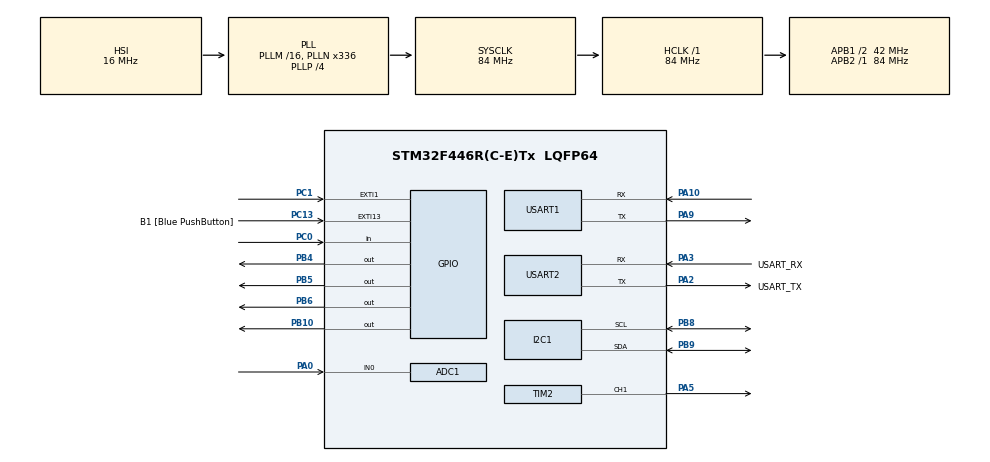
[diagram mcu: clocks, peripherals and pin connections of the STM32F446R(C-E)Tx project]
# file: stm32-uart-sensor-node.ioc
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ADC1.Channel-0\#ChannelRegularConversion=ADC_CHANNEL_0
ADC1.NbrOfConversionFlag=1
ADC1.Rank-0\#ChannelRegularConversion=1
ADC1.SamplingTime-0\#ChannelRegularConversion=ADC_SAMPLETIME_3CYCLES
ADC1.master=1
FREERTOS.Tasks01=defaultTask,24,128,StartDefaultTask,Default,NULL,Dynamic,NULL,NULL;UartRxTask,32,512,StartUartRxTask,Default,NULL,Dynamic,NULL,NULL;CommandTask,24,512,StartCommandTask,Default,NULL,Dynamic,NULL,NULL;TelemetryTask,8,512,StartTelemetryTask,Default,NULL,Dynamic,NULL,NULL
FREERTOS.configUSE_NEWLIB_REENTRANT=1
Mcu.Family=STM32F4
Mcu.Name=STM32F446R(C-E)Tx
Mcu.Package=LQFP64
NVIC.EXTI1_IRQn=true\:5\:0\:false\:false\:true\:true\:true\:true\:true
NVIC.PriorityGroup=NVIC_PRIORITYGROUP_4
NVIC.TIM6_DAC_IRQn=true\:15\:0\:false\:false\:true\:false\:false\:true\:true
NVIC.TimeBase=TIM6_DAC_IRQn
NVIC.TimeBaseIP=TIM6
PA0-WKUP.Signal=ADCx_IN0
PA10.Mode=Asynchronous
PA10.Signal=USART1_RX
PA13.GPIO_Label=TMS
PA13.Mode=Serial_Wire
PA13.Signal=SYS_JTMS-SWDIO
PA14.GPIO_Label=TCK
PA14.Mode=Serial_Wire
PA14.Signal=SYS_JTCK-SWCLK
PA2.GPIO_Label=USART_TX
PA2.Mode=Asynchronous
PA2.Signal=USART2_TX
PA3.GPIO_Label=USART_RX
PA3.Mode=Asynchronous
PA3.Signal=USART2_RX
PA5.Signal=S_TIM2_CH1_ETR
PA9.Mode=Asynchronous
PA9.Signal=USART1_TX
PB10.Signal=GPIO_Output
PB3.GPIO_Label=SWO
PB3.Signal=SYS_JTDO-SWO
PB4.Signal=GPIO_Output
PB5.Signal=GPIO_Output
PB6.PinState=GPIO_PIN_SET
PB6.Signal=GPIO_Output
PB8.GPIO_Pu=GPIO_NOPULL
PB8.Mode=I2C
PB8.Signal=I2C1_SCL
PB9.GPIO_Pu=GPIO_NOPULL
PB9.Mode=I2C
PB9.Signal=I2C1_SDA
PC0.GPIO_PuPd=GPIO_PULLUP
PC0.Signal=GPIO_Input
PC1.GPIO_ModeDefaultEXTI=GPIO_MODE_IT_FALLING
PC1.GPIO_PuPd=GPIO_PULLUP
PC1.Signal=GPXTI1
PC13.GPIO_Label=B1 [Blue PushButton]
PC13.GPIO_ModeDefaultEXTI=GPIO_MODE_IT_FALLING
PC13.Signal=GPXTI13
PC14-OSC32_IN.Mode=LSE-External-Oscillator
PC14-OSC32_IN.Signal=RCC_OSC32_IN
PC15-OSC32_OUT.Mode=LSE-External-Oscillator
PC15-OSC32_OUT.Signal=RCC_OSC32_OUT
PH0-OSC_IN.Mode=HSE-External-Oscillator
PH0-OSC_IN.Signal=RCC_OSC_IN
PH1-OSC_OUT.Mode=HSE-External-Oscillator
PH1-OSC_OUT.Signal=RCC_OSC_OUT
ProjectManager.HeapSize=0x200
ProjectManager.StackSize=0x400
ProjectManager.TargetToolchain=STM32CubeIDE
RCC.48MHZClocksFreq_Value=84000000
RCC.AHBFreq_Value=84000000
RCC.APB1CLKDivider=RCC_HCLK_DIV2
RCC.APB1Freq_Value=42000000
RCC.APB1TimFreq_Value=84000000
RCC.APB2Freq_Value=84000000
RCC.APB2TimFreq_Value=84000000
RCC.CortexFreq_Value=84000000
RCC.FLatency-AdvancedSettings=FLASH_LATENCY_2
RCC.HCLKFreq_Value=84000000
RCC.HSE_VALUE=8000000
RCC.HSI_VALUE=16000000
RCC.PLLN=336
RCC.PLLP=RCC_PLLP_DIV4
RCC.SYSCLKFreq_VALUE=84000000
RCC.SYSCLKSource=RCC_SYSCLKSOURCE_PLLCLK
RCC.USBFreq_Value=168000000
RCC.VCOOutputFreq_Value=336000000
SH.ADCx_IN0.0=ADC1_IN0,IN0
SH.S_TIM2_CH1_ETR.0=TIM2_CH1,PWM Generation1 CH1
TIM2.Channel-PWM\ Generation1\ CH1=TIM_CHANNEL_1
TIM2.Period=3359
TIM2.Prescaler=0
TIM2.Pulse-PWM\ Generation1\ CH1=1680
USART1.VirtualMode=VM_ASYNC
USART2.VirtualMode=VM_ASYNC
VP_FREERTOS_VS_CMSIS_V2.Mode=CMSIS_V2
VP_SYS_VS_tim6.Mode=TIM6
VP_TIM2_VS_ClockSourceINT.Mode=Internal
board=NUCLEO-F446RE

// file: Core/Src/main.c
/* USER CODE BEGIN Header */
/**
 ******************************************************************************
 * @file           : main.c
 * @brief          : Main program body
 ******************************************************************************
 * @attention
 *
 * Copyright (c) 2026 STMicroelectronics.
 * All rights reserved.
 *
 * This software is licensed under terms that can be found in the LICENSE file
 * in the root directory of this software component.
 * If no LICENSE file comes with this software, it is provided AS-IS.
 *
 ******************************************************************************
 */
/* USER CODE END Header */
#include "main.h"
#include "cmsis_os.h"

/* USER CODE BEGIN Includes */

#include <string.h>
#include <stdio.h>

#include "shared_types.h"
#include "telemetry_data.h"
#include "dht11.h"
#include "protocol.h"
#include "load_sensor.h"
#include "machine_state.h"

#if ENABLE_VIBRATION_SENSOR
#include "adxl345.h"
#include "moving_average.h"
#include <stdlib.h>
#endif

#include "fan_control.h"

/* USER CODE END Includes */

/* USER CODE BEGIN PD */
#define ENABLE_VIBRATION_SENSOR 0
/* USER CODE END PD */

ADC_HandleTypeDef hadc1;

I2C_HandleTypeDef hi2c1;

TIM_HandleTypeDef htim2;

UART_HandleTypeDef huart1;
UART_HandleTypeDef huart2;

/* Definitions for defaultTask */
osThreadId_t defaultTaskHandle;
const osThreadAttr_t defaultTask_attributes = {
  .name = "defaultTask",
  .stack_size = 128 * 4,
  .priority = (osPriority_t) osPriorityNormal,
};
/* Definitions for UartRxTask */
osThreadId_t UartRxTaskHandle;
const osThreadAttr_t UartRxTask_attributes = {
  .name = "UartRxTask",
  .stack_size = 512 * 4,
  .priority = (osPriority_t) osPriorityAboveNormal,
};
/* Definitions for CommandTask */
osThreadId_t CommandTaskHandle;
const osThreadAttr_t CommandTask_attributes = {
  .name = "CommandTask",
  .stack_size = 512 * 4,
  .priority = (osPriority_t) osPriorityNormal,
};
/* Definitions for TelemetryTask */
osThreadId_t TelemetryTaskHandle;
const osThreadAttr_t TelemetryTask_attributes = {
  .name = "TelemetryTask",
  .stack_size = 512 * 4,
  .priority = (osPriority_t) osPriorityLow,
};
/* USER CODE BEGIN PV */
osMessageQueueId_t commandQueueHandle;
TelemetryData latestTelemetry = {
    .temperature = 19,
    .humidity = 60,
    .load = 0,
    .emergency_button = 0,
    .vibrationX_mg = 0,
    .vibrationY_mg = 0,
    .vibrationZ_mg = 0,
    .vibration_level_mg = 0,
    .dhtStatus = DHT_OK,
    .loadStatus = LOAD_OK,
    .systemStatus = SYSTEM_OK};
osMutexId_t telemetryMutex;
MachineState machine_state = MACHINE_STATE_IDLE;
FaultCode_t faultCode = FAULT_NONE;
volatile uint32_t tachPulseCount = 0;
volatile uint32_t tachPollPulses = 0;
volatile uint32_t fanRpm = 0;
#if ENABLE_VIBRATION_SENSOR
MovingAverageFilter xFilter;
MovingAverageFilter yFilter;
MovingAverageFilter zFilter;
#endif
/* USER CODE END PV */

void SystemClock_Config(void);
static void MX_GPIO_Init(void);
static void MX_USART2_UART_Init(void);
static void MX_USART1_UART_Init(void);
static void MX_ADC1_Init(void);
static void MX_TIM2_Init(void);
static void MX_I2C1_Init(void);
void StartDefaultTask(void *argument);
void StartUartRxTask(void *argument);
void StartCommandTask(void *argument);
void StartTelemetryTask(void *argument);

/* USER CODE BEGIN PFP */
void I2C_Scan(void);
/* USER CODE END PFP */

int main(void)
{

  /* MCU Configuration--------------------------------------------------------*/

  /* Reset of all peripherals, Initializes the Flash interface and the Systick. */
  HAL_Init();

  /* Configure the system clock */
  SystemClock_Config();

  /* Initialize all configured peripherals */
  MX_GPIO_Init();
  MX_USART2_UART_Init();
  MX_USART1_UART_Init();
  MX_ADC1_Init();
  MX_TIM2_Init();
  MX_I2C1_Init();
  /* USER CODE BEGIN 2 */
  DHT11_Init();
  HAL_TIM_PWM_Start(&htim2, TIM_CHANNEL_1);
  Fan_Init(&htim2, TIM_CHANNEL_1);

  Machine_ApplyStateOutputs(machine_state);
  // I2C_Scan();
  /* USER CODE END 2 */

  /* Init scheduler */
  osKernelInitialize();

  /* USER CODE BEGIN RTOS_MUTEX */
  /* add mutexes, ... */
  telemetryMutex = osMutexNew(NULL);

  /* USER CODE END RTOS_MUTEX */

  /* USER CODE BEGIN RTOS_QUEUES */
  /* add queues, ... */
  commandQueueHandle = osMessageQueueNew(8, sizeof(CommandMessage), NULL);
  /* USER CODE END RTOS_QUEUES */

  /* Create the thread(s) */
  /* creation of defaultTask */
  defaultTaskHandle = osThreadNew(StartDefaultTask, NULL, &defaultTask_attributes);

  /* creation of UartRxTask */
  UartRxTaskHandle = osThreadNew(StartUartRxTask, NULL, &UartRxTask_attributes);

  /* creation of CommandTask */
  CommandTaskHandle = osThreadNew(StartCommandTask, NULL, &CommandTask_attributes);

  /* creation of TelemetryTask */
  TelemetryTaskHandle = osThreadNew(StartTelemetryTask, NULL, &TelemetryTask_attributes);

  /* Start scheduler */
  osKernelStart();

  /* We should never get here as control is now taken by the scheduler */

  /* Infinite loop */
  while (1)
  {

  }
}

void SystemClock_Config(void)
{
  RCC_OscInitTypeDef RCC_OscInitStruct = {0};
  RCC_ClkInitTypeDef RCC_ClkInitStruct = {0};

  /** Configure the main internal regulator output voltage
  */
  __HAL_RCC_PWR_CLK_ENABLE();
  __HAL_PWR_VOLTAGESCALING_CONFIG(PWR_REGULATOR_VOLTAGE_SCALE3);

  /** Initializes the RCC Oscillators according to the specified parameters
  * in the RCC_OscInitTypeDef structure.
  */
  RCC_OscInitStruct.OscillatorType = RCC_OSCILLATORTYPE_HSI;
  RCC_OscInitStruct.HSIState = RCC_HSI_ON;
  RCC_OscInitStruct.HSICalibrationValue = RCC_HSICALIBRATION_DEFAULT;
  RCC_OscInitStruct.PLL.PLLState = RCC_PLL_ON;
  RCC_OscInitStruct.PLL.PLLSource = RCC_PLLSOURCE_HSI;
  RCC_OscInitStruct.PLL.PLLM = 16;
  RCC_OscInitStruct.PLL.PLLN = 336;
  RCC_OscInitStruct.PLL.PLLP = RCC_PLLP_DIV4;
  RCC_OscInitStruct.PLL.PLLQ = 2;
  RCC_OscInitStruct.PLL.PLLR = 2;
  if (HAL_RCC_OscConfig(&RCC_OscInitStruct) != HAL_OK)
  {
    Error_Handler();
  }

  /** Initializes the CPU, AHB and APB buses clocks
  */
  RCC_ClkInitStruct.ClockType = RCC_CLOCKTYPE_HCLK|RCC_CLOCKTYPE_SYSCLK
                              |RCC_CLOCKTYPE_PCLK1|RCC_CLOCKTYPE_PCLK2;
  RCC_ClkInitStruct.SYSCLKSource = RCC_SYSCLKSOURCE_PLLCLK;
  RCC_ClkInitStruct.AHBCLKDivider = RCC_SYSCLK_DIV1;
  RCC_ClkInitStruct.APB1CLKDivider = RCC_HCLK_DIV2;
  RCC_ClkInitStruct.APB2CLKDivider = RCC_HCLK_DIV1;

  if (HAL_RCC_ClockConfig(&RCC_ClkInitStruct, FLASH_LATENCY_2) != HAL_OK)
  {
    Error_Handler();
  }
}

static void MX_ADC1_Init(void)
{

  ADC_ChannelConfTypeDef sConfig = {0};

  /** Configure the global features of the ADC (Clock, Resolution, Data Alignment and number of conversion)
  */
  hadc1.Instance = ADC1;
  hadc1.Init.ClockPrescaler = ADC_CLOCK_SYNC_PCLK_DIV4;
  hadc1.Init.Resolution = ADC_RESOLUTION_12B;
  hadc1.Init.ScanConvMode = DISABLE;
  hadc1.Init.ContinuousConvMode = DISABLE;
  hadc1.Init.DiscontinuousConvMode = DISABLE;
  hadc1.Init.ExternalTrigConvEdge = ADC_EXTERNALTRIGCONVEDGE_NONE;
  hadc1.Init.ExternalTrigConv = ADC_SOFTWARE_START;
  hadc1.Init.DataAlign = ADC_DATAALIGN_RIGHT;
  hadc1.Init.NbrOfConversion = 1;
  hadc1.Init.DMAContinuousRequests = DISABLE;
  hadc1.Init.EOCSelection = ADC_EOC_SINGLE_CONV;
  if (HAL_ADC_Init(&hadc1) != HAL_OK)
  {
    Error_Handler();
  }

  /** Configure for the selected ADC regular channel its corresponding rank in the sequencer and its sample time.
  */
  sConfig.Channel = ADC_CHANNEL_0;
  sConfig.Rank = 1;
  sConfig.SamplingTime = ADC_SAMPLETIME_3CYCLES;
  if (HAL_ADC_ConfigChannel(&hadc1, &sConfig) != HAL_OK)
  {
    Error_Handler();
  }

}

static void MX_I2C1_Init(void)
{

  hi2c1.Instance = I2C1;
  hi2c1.Init.ClockSpeed = 100000;
  hi2c1.Init.DutyCycle = I2C_DUTYCYCLE_2;
  hi2c1.Init.OwnAddress1 = 0;
  hi2c1.Init.AddressingMode = I2C_ADDRESSINGMODE_7BIT;
  hi2c1.Init.DualAddressMode = I2C_DUALADDRESS_DISABLE;
  hi2c1.Init.OwnAddress2 = 0;
  hi2c1.Init.GeneralCallMode = I2C_GENERALCALL_DISABLE;
  hi2c1.Init.NoStretchMode = I2C_NOSTRETCH_DISABLE;
  if (HAL_I2C_Init(&hi2c1) != HAL_OK)
  {
    Error_Handler();
  }

}

static void MX_TIM2_Init(void)
{

  TIM_ClockConfigTypeDef sClockSourceConfig = {0};
  TIM_MasterConfigTypeDef sMasterConfig = {0};
  TIM_OC_InitTypeDef sConfigOC = {0};

  htim2.Instance = TIM2;
  htim2.Init.Prescaler = 0;
  htim2.Init.CounterMode = TIM_COUNTERMODE_UP;
  htim2.Init.Period = 3359;
  htim2.Init.ClockDivision = TIM_CLOCKDIVISION_DIV1;
  htim2.Init.AutoReloadPreload = TIM_AUTORELOAD_PRELOAD_DISABLE;
  if (HAL_TIM_Base_Init(&htim2) != HAL_OK)
  {
    Error_Handler();
  }
  sClockSourceConfig.ClockSource = TIM_CLOCKSOURCE_INTERNAL;
  if (HAL_TIM_ConfigClockSource(&htim2, &sClockSourceConfig) != HAL_OK)
  {
    Error_Handler();
  }
  if (HAL_TIM_PWM_Init(&htim2) != HAL_OK)
  {
    Error_Handler();
  }
  sMasterConfig.MasterOutputTrigger = TIM_TRGO_RESET;
  sMasterConfig.MasterSlaveMode = TIM_MASTERSLAVEMODE_DISABLE;
  if (HAL_TIMEx_MasterConfigSynchronization(&htim2, &sMasterConfig) != HAL_OK)
  {
    Error_Handler();
  }
  sConfigOC.OCMode = TIM_OCMODE_PWM1;
  sConfigOC.Pulse = 1680;
  sConfigOC.OCPolarity = TIM_OCPOLARITY_HIGH;
  sConfigOC.OCFastMode = TIM_OCFAST_DISABLE;
  if (HAL_TIM_PWM_ConfigChannel(&htim2, &sConfigOC, TIM_CHANNEL_1) != HAL_OK)
  {
    Error_Handler();
  }
  HAL_TIM_MspPostInit(&htim2);

}

static void MX_USART1_UART_Init(void)
{

  huart1.Instance = USART1;
  huart1.Init.BaudRate = 115200;
  huart1.Init.WordLength = UART_WORDLENGTH_8B;
  huart1.Init.StopBits = UART_STOPBITS_1;
  huart1.Init.Parity = UART_PARITY_NONE;
  huart1.Init.Mode = UART_MODE_TX_RX;
  huart1.Init.HwFlowCtl = UART_HWCONTROL_NONE;
  huart1.Init.OverSampling = UART_OVERSAMPLING_16;
  if (HAL_UART_Init(&huart1) != HAL_OK)
  {
    Error_Handler();
  }

}

static void MX_USART2_UART_Init(void)
{

  huart2.Instance = USART2;
  huart2.Init.BaudRate = 115200;
  huart2.Init.WordLength = UART_WORDLENGTH_8B;
  huart2.Init.StopBits = UART_STOPBITS_1;
  huart2.Init.Parity = UART_PARITY_NONE;
  huart2.Init.Mode = UART_MODE_TX_RX;
  huart2.Init.HwFlowCtl = UART_HWCONTROL_NONE;
  huart2.Init.OverSampling = UART_OVERSAMPLING_16;
  if (HAL_UART_Init(&huart2) != HAL_OK)
  {
    Error_Handler();
  }

}

static void MX_GPIO_Init(void)
{
  GPIO_InitTypeDef GPIO_InitStruct = {0};

  /* GPIO Ports Clock Enable */
  __HAL_RCC_GPIOC_CLK_ENABLE();
  __HAL_RCC_GPIOH_CLK_ENABLE();
  __HAL_RCC_GPIOA_CLK_ENABLE();
  __HAL_RCC_GPIOB_CLK_ENABLE();

  /*Configure GPIO pin Output Level */
  HAL_GPIO_WritePin(GPIOB, GPIO_PIN_10|GPIO_PIN_4|GPIO_PIN_5, GPIO_PIN_RESET);

  /*Configure GPIO pin Output Level */
  HAL_GPIO_WritePin(GPIOB, GPIO_PIN_6, GPIO_PIN_SET);

  /*Configure GPIO pin : B1_Pin */
  GPIO_InitStruct.Pin = B1_Pin;
  GPIO_InitStruct.Mode = GPIO_MODE_IT_FALLING;
  GPIO_InitStruct.Pull = GPIO_NOPULL;
  HAL_GPIO_Init(B1_GPIO_Port, &GPIO_InitStruct);

  /*Configure GPIO pin : PC0 */
  GPIO_InitStruct.Pin = GPIO_PIN_0;
  GPIO_InitStruct.Mode = GPIO_MODE_INPUT;
  GPIO_InitStruct.Pull = GPIO_PULLUP;
  HAL_GPIO_Init(GPIOC, &GPIO_InitStruct);

  /*Configure GPIO pin : PC1 */
  GPIO_InitStruct.Pin = GPIO_PIN_1;
  GPIO_InitStruct.Mode = GPIO_MODE_IT_FALLING;
  GPIO_InitStruct.Pull = GPIO_PULLUP;
  HAL_GPIO_Init(GPIOC, &GPIO_InitStruct);

  /*Configure GPIO pins : PB10 PB4 PB5 PB6 */
  GPIO_InitStruct.Pin = GPIO_PIN_10|GPIO_PIN_4|GPIO_PIN_5|GPIO_PIN_6;
  GPIO_InitStruct.Mode = GPIO_MODE_OUTPUT_PP;
  GPIO_InitStruct.Pull = GPIO_NOPULL;
  GPIO_InitStruct.Speed = GPIO_SPEED_FREQ_LOW;
  HAL_GPIO_Init(GPIOB, &GPIO_InitStruct);

  /* EXTI interrupt init*/
  HAL_NVIC_SetPriority(EXTI1_IRQn, 5, 0);
  HAL_NVIC_EnableIRQ(EXTI1_IRQn);

}

/* USER CODE BEGIN 4 */
void HAL_GPIO_EXTI_Callback(uint16_t GPIO_Pin)
{
  static uint32_t lastTachTick = 0;

  if (GPIO_Pin == GPIO_PIN_1)
  {
    uint32_t now = HAL_GetTick();

    if ((now - lastTachTick) >= 8)
    {
      tachPulseCount++;
      lastTachTick = now;
    }
  }
}

void I2C_Scan(void)
{
  char msg[64];

  HAL_UART_Transmit(&huart2,
                    (uint8_t *)"Scanning I2C...\r\n",
                    17,
                    HAL_MAX_DELAY);

  for (uint8_t addr = 1; addr < 128; addr++)
  {
    if (HAL_I2C_IsDeviceReady(&hi2c1,
                              addr << 1,
                              3,
                              100) == HAL_OK)
    {
      sprintf(msg,
              "Found device at 0x%02X\r\n",
              addr);

      HAL_UART_Transmit(&huart2,
                        (uint8_t *)msg,
                        strlen(msg),
                        HAL_MAX_DELAY);
    }
  }

  HAL_UART_Transmit(&huart2,
                    (uint8_t *)"Scan finished\r\n",
                    15,
                    HAL_MAX_DELAY);
}

/* USER CODE END 4 */

void StartDefaultTask(void *argument)
{
  /* USER CODE BEGIN 5 */

  /* Infinite loop */

  for (;;)
  {

    /*

    __HAL_TIM_SET_COMPARE(&htim2, TIM_CHANNEL_1, 0);   // 0%
      osDelay(10000);
    __HAL_TIM_SET_COMPARE(&htim2, TIM_CHANNEL_1, 100);   // 25%
      osDelay(10000);

    __HAL_TIM_SET_COMPARE(&htim2, TIM_CHANNEL_1, 840);   // 25%
    osDelay(10000);

*/
    //__HAL_TIM_SET_COMPARE(&htim2, TIM_CHANNEL_1, 1680);  // 50%
    // osDelay(10000);
    /*
         __HAL_TIM_SET_COMPARE(&htim2, TIM_CHANNEL_1, 2520);  // 75%
         osDelay(10000);

         __HAL_TIM_SET_COMPARE(&htim2, TIM_CHANNEL_1, 3359);  // 100%
         osDelay(10000);
    */
    // osDelay(1000);

    // uint32_t pulses = tachPulseCount;
    // tachPulseCount = 0;

    //   fanRpm = pulses * 30; // 2 pulses per revolution, 1 second window

    // char msg[64];
    // snprintf(msg, sizeof(msg), "Pulses=%lu RPM=%lu\r\n", pulses, fanRpm);
    // HAL_UART_Transmit(&huart2, (uint8_t*)msg, strlen(msg), HAL_MAX_DELAY);
    // printf("ESTOP=%d\r\n",
    //          HAL_GPIO_ReadPin(GPIOC, GPIO_PIN_0));
    //     char msg[64];

    //       snprintf(msg, sizeof(msg), "ESTOP=%d\r\n",
    //   HAL_GPIO_ReadPin(GPIOC, GPIO_PIN_0));

    //	       HAL_UART_Transmit(&huart2, (uint8_t*)msg, strlen(msg), HAL_MAX_DELAY);
    osDelay(1000);
  }
  /* USER CODE END 5 */
}

void StartUartRxTask(void *argument)
{
  /* USER CODE BEGIN StartUartRxTask */
  uint8_t rxBuffer[64] = {0};
  uint8_t rxByte = 0;
  int index = 0;
  /* Infinite loop */
  for (;;)
  {
    HAL_StatusTypeDef status = HAL_UART_Receive(&huart1, &rxByte, 1, 10);
    if (status != HAL_OK)
    {
      osDelay(1);
      continue;
    }

    if (rxByte == '\r')
    {
      continue;
    }

    if (rxByte == '\n')
    {
      rxBuffer[index] = '\0';

      if (index > 0)
      {
        CommandMessage msg;
        memset(&msg, 0, sizeof(msg));
        strncpy(msg.text, (char *)rxBuffer, sizeof(msg.text) - 1);

        osMessageQueuePut(commandQueueHandle, &msg, 0, 0);
        osDelay(1);
      }

      index = 0;
      memset(rxBuffer, 0, sizeof(rxBuffer));
      continue;
    }

    if (index < sizeof(rxBuffer) - 1)
    {
      rxBuffer[index] = rxByte;
      index++;
    }
    else
    {
      index = 0;
      memset(rxBuffer, 0, sizeof(rxBuffer));
    }
  }
  /* USER CODE END StartUartRxTask */
}

void StartCommandTask(void *argument)
{
  /* USER CODE BEGIN StartCommandTask */
  //	uint8_t rxBuffer[32] = {"PING"};
  CommandMessage cmd;
  /* Infinite loop */
  for (;;)
  {
    osStatus_t status =
        osMessageQueueGet(commandQueueHandle, &cmd, NULL, osWaitForever);

    if (status != osOK)
    {
      continue;
    }
    TelemetryData telemetry_data = {0};
    char response[256] = {0};
    status = osMutexAcquire(telemetryMutex, osWaitForever);
    if (status == osOK)
    {
      telemetry_data = latestTelemetry;
      Protocol_HandleCommand(cmd.text,
                             &telemetry_data,
                             &machine_state,
                             &faultCode,
                             response,
                             sizeof(response));
      osMutexRelease(telemetryMutex);
    }

    HAL_UART_Transmit(&huart1, (uint8_t *)response, strlen(response), HAL_MAX_DELAY);
  }
  /* USER CODE END StartCommandTask */
}

void StartTelemetryTask(void *argument)
{
  /* USER CODE BEGIN StartTelemetryTask */

  static uint32_t dhtCounterMs = 0;
  static uint32_t lastRpmTick = 0;

  if (lastRpmTick == 0)
  {
    lastRpmTick = HAL_GetTick();
  }
#if ENABLE_VIBRATION_SENSOR
  if (ADXL345_Init(&hi2c1) == HAL_OK)
  {
    HAL_UART_Transmit(&huart2,
                      (uint8_t *)"ADXL345 init OK\r\n",
                      17,
                      HAL_MAX_DELAY);
  }
  else
  {
    HAL_UART_Transmit(&huart2,
                      (uint8_t *)"ADXL345 init FAILED\r\n",
                      22,
                      HAL_MAX_DELAY);
  }

  MovingAverage_Init(&xFilter);
  MovingAverage_Init(&yFilter);
  MovingAverage_Init(&zFilter);
#else
  HAL_UART_Transmit(&huart2,
                    (uint8_t *)"Vibration sensor disabled\r\n",
                    27,
                    HAL_MAX_DELAY);
#endif
  Fan_Stop();
  for (;;)
  {
    osStatus_t status;
    uint32_t now = HAL_GetTick();
    uint32_t elapsedMs = now - lastRpmTick;
    if (elapsedMs >= 1000)
    {
      lastRpmTick = now;

      __disable_irq();
      uint32_t pulses = tachPulseCount;
      tachPulseCount = 0;
      __enable_irq();

      uint32_t rpm = (pulses * 60000UL) / (2UL * elapsedMs);
      status = osMutexAcquire(telemetryMutex, osWaitForever);
      if (status == osOK)
      {
        latestTelemetry.fan_rpm = rpm;
        osMutexRelease(telemetryMutex);
      }
    }
    // Emergency button
    status = osMutexAcquire(telemetryMutex, osWaitForever);
    if (status == osOK)
    {
      latestTelemetry.emergency_button = !HAL_GPIO_ReadPin(GPIOC, GPIO_PIN_0);
      osMutexRelease(telemetryMutex);
    }

    //
#if ENABLE_VIBRATION_SENSOR
    int16_t x, y, z;

    if (ADXL345_ReadXYZ(&hi2c1, &x, &y, &z) == HAL_OK)
    {
      int32_t x_mg = (int32_t)x * 1000 / 256;
      int32_t y_mg = (int32_t)y * 1000 / 256;
      int32_t z_mg = (int32_t)z * 1000 / 256;

      int32_t x_avg = MovingAverage_Update(&xFilter, x_mg);
      int32_t y_avg = MovingAverage_Update(&yFilter, y_mg);
      int32_t z_avg = MovingAverage_Update(&zFilter, z_mg);

      int32_t vibration_level_mg =
          labs(x_avg) + labs(y_avg) + labs(z_avg);

      status = osMutexAcquire(telemetryMutex, osWaitForever);
      if (status == osOK)
      {
        latestTelemetry.vibrationX_mg = x_avg;
        latestTelemetry.vibrationY_mg = y_avg;
        latestTelemetry.vibrationZ_mg = z_avg;
        latestTelemetry.vibration_level_mg = vibration_level_mg;
        osMutexRelease(telemetryMutex);
      }
    }
#else
    status = osMutexAcquire(telemetryMutex, osWaitForever);
    if (status == osOK)
    {
      latestTelemetry.vibrationX_mg = 0;
      latestTelemetry.vibrationY_mg = 0;
      latestTelemetry.vibrationZ_mg = 0;
      latestTelemetry.vibration_level_mg = 0;
      osMutexRelease(telemetryMutex);
    }
#endif

    int load = LoadSensor_ReadPercent(&hadc1);
    status = osMutexAcquire(telemetryMutex, osWaitForever);
    if (status == osOK)
    {
      if (load >= 0)
      {
        latestTelemetry.load = load;
        latestTelemetry.loadStatus = LOAD_OK;
      }
      else
      {
        latestTelemetry.loadStatus = LOAD_ADC_ERROR;
      }
      osMutexRelease(telemetryMutex);
    }

    dhtCounterMs += 100;

    if (dhtCounterMs >= 2000)
    {
      int temp = 0;
      int hum = 0;

      int result = DHT11_Read(&temp, &hum);
      status = osMutexAcquire(telemetryMutex, osWaitForever);
      if (status == osOK)
      {
        if (result == 1)
        {
          latestTelemetry.temperature = temp;
          latestTelemetry.humidity = hum;
          latestTelemetry.dhtStatus = DHT_OK;
        }
        else
        {
          latestTelemetry.dhtStatus = DHT_ERROR;
        }
        osMutexRelease(telemetryMutex);
      }
      dhtCounterMs = 0;
    }
    status = osMutexAcquire(telemetryMutex, osWaitForever);
    if (status == osOK)
    {
      Machine_EvaluateRuntimeState(&latestTelemetry,
                                   &machine_state,
                                   &faultCode);
      osMutexRelease(telemetryMutex);
    }
    osDelay(100);
  }

  /* USER CODE END StartTelemetryTask */
}

void HAL_TIM_PeriodElapsedCallback(TIM_HandleTypeDef *htim)
{
  if (htim->Instance == TIM6)
  {
    HAL_IncTick();
  }
}

void Error_Handler(void)
{
  __disable_irq();
  while (1)
  {
  }
}
